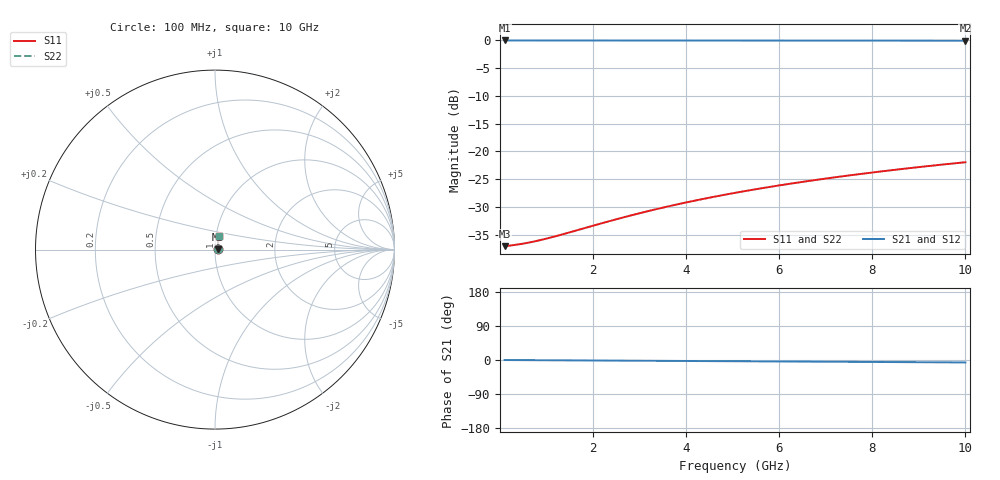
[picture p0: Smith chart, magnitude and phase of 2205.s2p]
# Hz S RI R 50.00
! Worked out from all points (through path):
!   100 points, 100 MHz to 10 GHz, reference 50 ohm
!   highest |S21| = -0.12 dB at 100 MHz (marker M1); lowest = -0.2 dB at 10 GHz (marker M2)
!   lowest |S11| = -37.0 dB at 100 MHz (marker M3), VSWR 1.03, Z = 51.4 + j0.0796 ohm
!   |S11| at or under -10 dB: start of sweep to end of sweep
!   |S22| runs from -37.0 to -21.9 dB; largest |S21 - S12| = 0
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1e8  0.0142 0.000773  0.9858 -0.00111  0.9858 -0.00111  0.0142 0.000773
3e8  0.0143 0.00232  0.9857 -0.00333  0.9857 -0.00333  0.0143 0.00232
5e8  0.0144 0.00386  0.9856 -0.00556  0.9856 -0.00556  0.0144 0.00386
8e8  0.0146 0.00618  0.9854 -0.00889  0.9854 -0.00889  0.0146 0.00618
1e9  0.0147 0.00772  0.9853 -0.0111  0.9853 -0.0111  0.0147 0.00772
1.2e9  0.0148 0.00927  0.9852 -0.0133  0.9852 -0.0133  0.0148 0.00927
1.8e9  0.015 0.0139  0.9849 -0.02  0.9849 -0.02  0.015 0.0139
2.2e9  0.0152 0.017  0.9847 -0.0244  0.9847 -0.0244  0.0152 0.017
2.6e9  0.0155 0.0201  0.9845 -0.0289  0.9845 -0.0289  0.0155 0.0201
3e9  0.0157 0.0231  0.9842 -0.0333  0.9842 -0.0333  0.0157 0.0231
3.4e9  0.016 0.0262  0.984 -0.0377  0.984 -0.0377  0.016 0.0262
3.8e9  0.0163 0.0293  0.9836 -0.0421  0.9836 -0.0421  0.0163 0.0293
4.2e9  0.0166 0.0323  0.9833 -0.0466  0.9833 -0.0466  0.0166 0.0323
4.6e9  0.0169 0.0354  0.9829 -0.051  0.9829 -0.051  0.0169 0.0354
5.1e9  0.0174 0.0392  0.9824 -0.0565  0.9824 -0.0565  0.0174 0.0392
5.5e9  0.0178 0.0423  0.982 -0.0609  0.982 -0.0609  0.0178 0.0423
5.9e9  0.0182 0.0453  0.9816 -0.0653  0.9816 -0.0653  0.0182 0.0453
6.7e9  0.0191 0.0514  0.9806 -0.0741  0.9806 -0.0741  0.0191 0.0514
7.5e9  0.0202 0.0575  0.9795 -0.0829  0.9795 -0.0829  0.0202 0.0575
8.4e9  0.0215 0.0643  0.9781 -0.0928  0.9781 -0.0928  0.0215 0.0643
9.2e9  0.0228 0.0703  0.9767 -0.1015  0.9767 -0.1015  0.0228 0.0703
1e10  0.0241 0.0763  0.9753 -0.1102  0.9753 -0.1102  0.0241 0.0763
